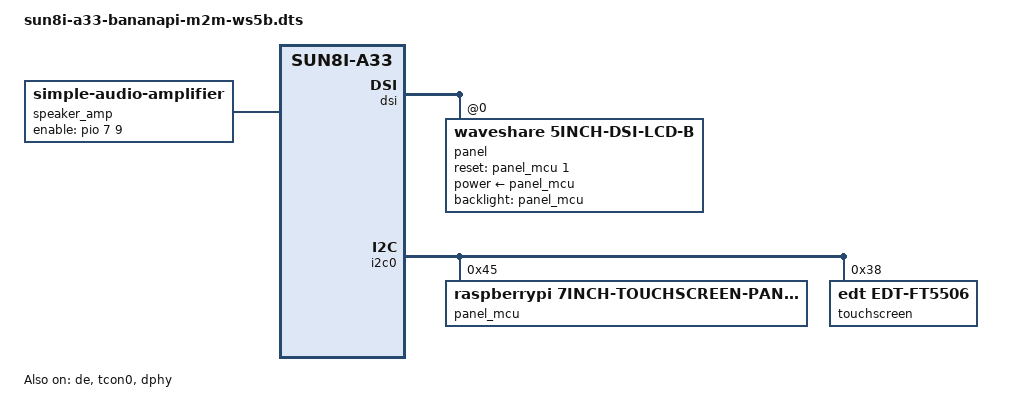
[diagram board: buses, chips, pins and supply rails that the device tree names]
// SPDX-License-Identifier: (GPL-2.0+ OR MIT)
/*
 * Banana Pi BPI-M2 Magic (A33) + Waveshare 5inch DSI LCD (B), 800x480,
 * through the bpi24-dsi-flex Rev F adapter.
 *
 * Everything the panel needs arrives over the ribbon - DSI lanes, the I2C pair
 * and 3V3 at the solder ear. There are NO flying wires for this panel: panel
 * reset, touch reset and backlight are all owned by the MCU at 0x45, exactly
 * as on a Raspberry Pi.
 *
 * Confirmed on hardware: 0x45 answers 0xc3 at REG_ID, i.e. the genuine RPi
 * ATTINY register map, so mainline's rpi-panel-attiny-regulator drives it
 * unmodified. Touch answers at 0x38 (FT5x06).
 */

#include "sun8i-r16-bananapi-m2m.dts"

/ {
	/*
	 * Pin MMC numbering - without this the SD card lands on mmcblk0 or
	 * mmcblk2 depending on how the SDIO Wi-Fi probe race resolves, and
	 * root=/dev/mmcblk0p1 hangs in rootwait. Seen on hardware.
	 */
	aliases {
		mmc0 = &mmc0;	/* 1c0f000 - SD card   */
		mmc1 = &mmc1;	/* 1c10000 - SDIO WiFi */
		mmc2 = &mmc2;	/* 1c11000 - eMMC (not populated) */
	};

	/*
	 * Onboard speaker amplifier (SN2010BIF09E, mono class-D) on the speaker
	 * breakout. It is fed from the codec's HPL/HPR through C102/C104 and
	 * 100 K resistors -- i.e. from the headphone outputs, not a line out --
	 * and drives the 2-pin SPK2 header.
	 *
	 * Its SDB (shutdown) pin is the PA-SHDN net, which the main board
	 * schematic puts on ball E14 = PH9. R107 pulls SDB to GROUND with 100 K,
	 * so the amp is held shut down until something actively drives PA-SHDN
	 * high -- hence GPIO_ACTIVE_HIGH.
	 *
	 * Wiring it as a DAPM aux device rather than a plain always-on GPIO means
	 * the amp powers up only while a stream is actually running, which keeps
	 * it from sitting there amplifying idle noise and avoids a permanent
	 * current draw on a battery-powered handheld.
	 */
	speaker_amp: audio-amplifier {
		compatible = "simple-audio-amplifier";
		enable-gpios = <&pio 7 9 GPIO_ACTIVE_HIGH>; /* PH9 = PA-SHDN */
		sound-name-prefix = "Speaker Amp";
	};
};

&de {
	status = "okay";
};

&tcon0 {
	status = "okay";
};

&dphy {
	status = "okay";
};

&dsi {
	status = "okay";

	panel@0 {
		compatible = "waveshare,5inch-dsi-lcd-b";
		reg = <0>;

		/* All three come from the 0x45 MCU below. */
		power-supply = <&panel_mcu>;
		backlight = <&panel_mcu>;
		reset-gpios = <&panel_mcu 1 GPIO_ACTIVE_HIGH>;

		/*
		 * The panel is physically mounted upside down in the case.
		 *
		 * This property is the canonical statement of that fact. It does
		 * NOT rotate anything by itself -- the kernel only exposes it as
		 * a "panel orientation" hint on the connector, and sun4i-drm has
		 * no hardware rotation to apply. Each consumer compensates:
		 *
		 *   RetroArch  video_rotation = "2"   (free; GL projection matrix)
		 *   launcher   PANEL_ROTATION=180     (build-time, rotates its blit)
		 *   touch      UNVERIFIED - see the note on the touchscreen node
		 *
		 * If the panel is ever mounted the right way up, this is the line
		 * to change first, then follow the three references above.
		 */
		rotation = <180>;
	};
};

/*
 * CN2-13 TP-SDA = PH3, CN2-14 TP-SCK = PH2 - the ribbon's I2C pair.
 * The panel MCU and the touch controller share it.
 */
&i2c0 {
	status = "okay";

	panel_mcu: regulator@45 {
		compatible = "raspberrypi,7inch-touchscreen-panel-regulator";
		reg = <0x45>;
		gpio-controller;
		#gpio-cells = <2>;
	};

	touchscreen@38 {
		compatible = "edt,edt-ft5506";
		reg = <0x38>;
		/*
		 * No interrupt: the RPi DSI connector has no INT pin, so the
		 * Rev F cable cannot carry one and mainline's edt-ft5x06 -
		 * which calls devm_request_threaded_irq() unconditionally -
		 * will not probe. Needs the RPi polling patch backported
		 * before touch works. See docs/cable_bringup_test.md.
		 */
		touchscreen-size-x = <800>;
		touchscreen-size-y = <480>;
		/*
		 * NO axis inversion.
		 *
		 * `touchscreen-inverted-x` and `touchscreen-inverted-y` were both
		 * set here from the initial port, untested. With the display now
		 * rotated 180 in software (see rotation = <180> above) they made
		 * touch land 180 degrees out -- reported on hardware as "touch is
		 * not working", because pressing a key on the search keyboard
		 * activated the diagonally opposite point, usually empty space.
		 *
		 * Inverting both axes IS a 180 degree rotation, so with the
		 * display already rotated they were applying it a second time.
		 * Removed as a pair: removing one alone gives a mirror, which is
		 * harder to diagnose than a clean 180.
		 */
	};
};

/*
 * Route the codec's headphone output into the speaker amplifier.
 *
 * sun8i-a33.dtsi already defines this card with aux-devs = <&codec_analog> and
 * the two DAC routes. Overriding a property REPLACES it, so both of those have
 * to be restated here alongside the additions -- dropping codec_analog would
 * take the whole analog path with it.
 *
 * The A33 analog codec exposes a single "HP" output widget (not HPL/HPR), so
 * both amplifier inputs are fed from it; the amp is mono anyway. Routing from
 * a codec OUTPUT widget into an amplifier INPUT widget is the established
 * pattern for this driver -- see arch/arm/boot/dts/ti/omap/omap3-echo.dts.
 *
 * Consequence worth knowing: there is no headphone jack detect on this board,
 * so the amp is enabled whenever playback runs, headphones plugged in or not.
 * Muting the speaker when headphones are inserted would need a detect line the
 * hardware does not bring out.
 */
&sound {
	simple-audio-card,aux-devs = <&codec_analog>, <&speaker_amp>;
	simple-audio-card,widgets = "Speaker", "Speaker";
	simple-audio-card,routing =
		"Left DAC", "DACL",
		"Right DAC", "DACR",
		"Speaker Amp INL", "HP",
		"Speaker Amp INR", "HP",
		"Speaker", "Speaker Amp OUTL",
		"Speaker", "Speaker Amp OUTR";
};

/*
 * Give the Bluetooth controller a real address.
 *
 * The base DTS declares the BCM43430A1 as a serdev child of uart1. Because
 * CONFIG_BT_HCIUART is built in, the driver binds at ~2.3 s -- before the
 * rootfs is mounted -- so brcm/BCM43430A1.hcd cannot be loaded and the chip
 * runs on its ROM firmware. That works, but it reports the unprogrammed
 * default address AA:AA:AA:AA:AA:AA.
 *
 * A stable, real address matters here specifically because of the DualShock 3:
 * BlueZ's sixaxis plugin writes the HOST's address into the pad over USB, and
 * the pad will only ever connect back to that address. A default shared by
 * every unpatched BCM part -- or one that changes -- breaks pairing.
 *
 * Byte order is little-endian per the bluetooth-controller binding, so this
 * shows up as 02:00:00:42:50:49. 0x02 in the leading (displayed) octet marks
 * it locally administered, so it cannot collide with a real assignment.
 *
 * PRODUCT NOTE: this is a fixed address baked into the image, so every board
 * built from it is identical. Fine for one bench unit; before shipping, derive
 * it from the SoC serial (/sys/bus/soc/devices/soc0/serial_number) and set it
 * at runtime, or two devices in the same room will conflict.
 *
 * The alternative -- loading the patchram by making BT_HCIUART a module -- was
 * tried in build #25 and left the chip unresponsive after the patch
 * ("command 0x0c03 tx timeout", "BCM: Reset failed (-110)"), reproducibly.
 */
&uart1 {
	bluetooth {
		local-bd-address = [49 50 42 00 00 02];
	};
};
